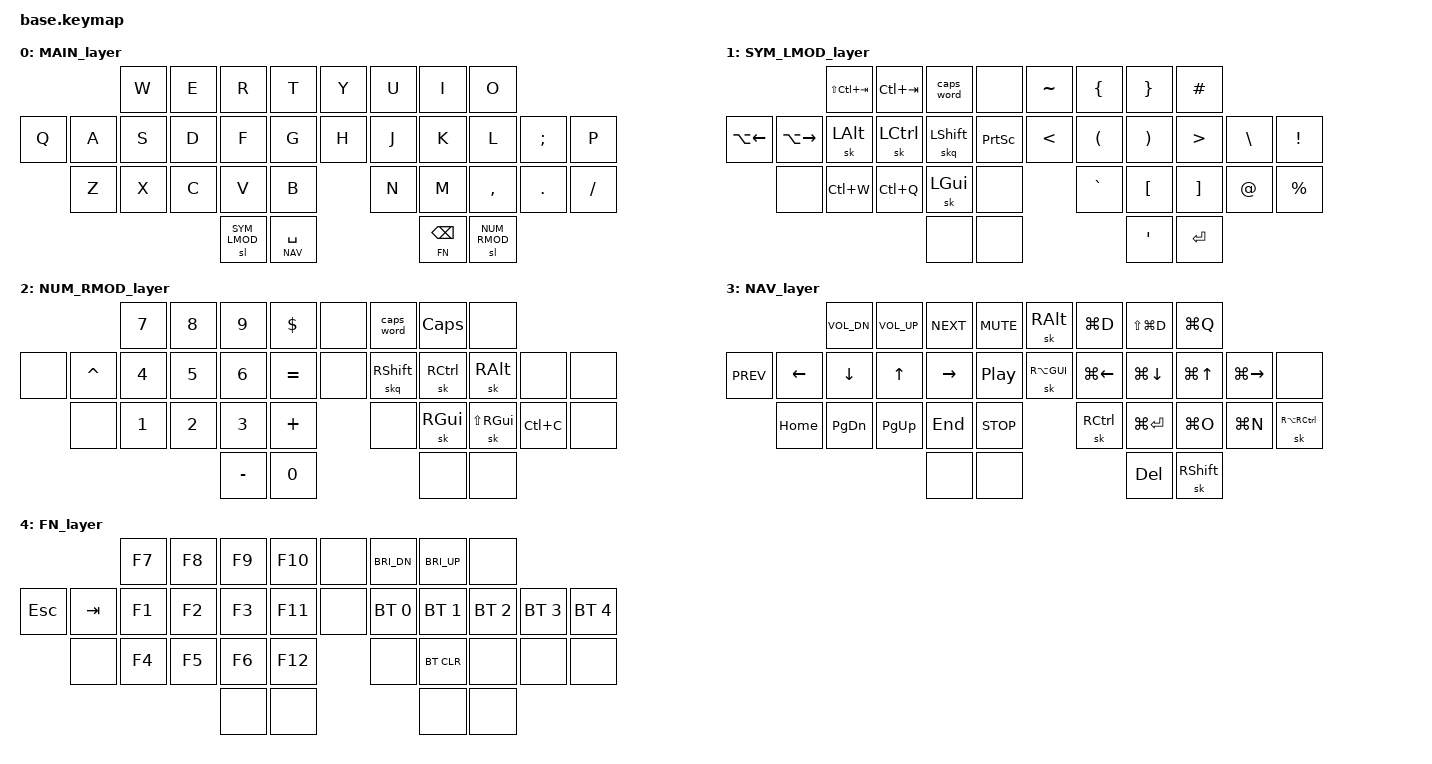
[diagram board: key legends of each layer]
#include <behaviors.dtsi>
#include <dt-bindings/zmk/keys.h>
#include <dt-bindings/zmk/bt.h>

#define MAIN 0
#define SYM_LMOD 1
#define NUM_RMOD 2
#define NAV 3
#define FN 4

&mt {
    flavor = "tap-preferred";
    tapping_term_ms = <180>;
};

/ {
    behaviors {
        semi_tilde: semi_tilde {
            compatible = "zmk,behavior-mod-morph";
            label = "SEMI_TILDE";
            #binding-cells = <0>;
            bindings = <&kp SEMI>, <&kp TILDE>;
            mods = <(MOD_LSFT|MOD_RSFT)>;
        };

        dot_dllr: dot_dllr {
            compatible = "zmk,behavior-mod-morph";
            label = "DOT_DLLR";
            #binding-cells = <0>;
            bindings = <&kp DOT>, <&kp DLLR>;
            mods = <(MOD_LSFT|MOD_RSFT)>;
        };

        comma_at: comma_at {
            compatible = "zmk,behavior-mod-morph";
            label = "COMMA_AT";
            #binding-cells = <0>;
            bindings = <&kp COMMA>, <&kp AT>;
            mods = <(MOD_LSFT|MOD_RSFT)>;
        };

        skq: sticky_key_quick_release {
            compatible = "zmk,behavior-sticky-key";
            label = "STICKY_KEY_QUICK_RELEASE";
            #binding-cells = <1>;
            bindings = <&kp>;
            release-after-ms = <1000>;
            quick-release;
        };
    };

    combos {
        compatible = "zmk,combos";

        combo_esc {
            timeout-ms = <30>;
            key-positions = <0 1>;
            bindings = <&kp ESC>;
            layers = <0>;
        };

        combo_tab {
            timeout-ms = <30>;
            key-positions = <1 2>;
            bindings = <&kp TAB>;
            layers = <0>;
        };

        combo_rbrc {
            timeout-ms = <30>;
            key-positions = <6 7>;
            bindings = <&kp RBRC>;
            layers = <1>;
        };

        combo_rpar {
            timeout-ms = <30>;
            key-positions = <16 17>;
            bindings = <&kp RPAR>;
            layers = <1>;
        };

        combo_rbkt {
            timeout-ms = <30>;
            key-positions = <27 28>;
            bindings = <&kp RBKT>;
            layers = <1>;
        };
    };

    keymap {
        compatible = "zmk,keymap";

        MAIN_layer {
            bindings = <
                      &kp W &kp E &kp R        &kp T            &kp Y    &kp U &kp I &kp O
          &kp Q &kp A &kp S &kp D &kp F        &kp G            &kp H &kp J    &kp K        &kp L      &kp SEMI &kp P
                &kp Z &kp X &kp C &kp V        &kp B            &kp N   &kp M    &kp COMMA        &kp PERIOD      &kp FSLH
                                  &sl SYM_LMOD &lt NAV SPACE      &lt FN BACKSPACE    &sl NUM_RMOD
            >;
        };

        SYM_LMOD_layer {
            bindings = <
                              &kp LS(LC(TAB)) &kp LC(TAB) &caps_word &none          &kp TILDE &kp LBRC  &kp RBRC &kp HASH
   &kp LA(LEFT) &kp LA(RIGHT) &sk LALT        &sk LCTRL   &skq LSHFT &kp PSCRN      &kp LT    &kp LPAR  &kp RPAR &kp GT   &kp BSLH  &kp EXCL
                &none         &kp LC(W)       &kp LC(Q)   &sk LGUI   &none          &kp GRAVE &kp LBKT  &kp RBKT &kp AT   &kp PRCNT
                                                          &none      &none          &kp SQT  &kp ENTER
            >;
        };

        NUM_RMOD_layer {
            bindings = <
                         &kp N7 &kp N8 &kp N9  &kp DLLR       &none &caps_word &kp CAPS     &none
         &none &kp CARET &kp N4 &kp N5 &kp N6  &kp EQUAL      &none &skq RSHFT &sk RCTRL    &sk RALT  &none &none
               &none     &kp N1 &kp N2 &kp N3  &kp PLUS       &none &sk RGUI   &sk LS(RGUI) &kp LC(C) &none
                                       &kp MINUS &kp N0         &none &none
            >;
        };

        NAV_layer {
            bindings = <
                         &kp C_VOL_DN &kp C_VOL_UP &kp C_NEXT &kp C_MUTE      &sk RALT    &kp LG(D)     &kp LS(LG(D)) &kp LG(Q)
     &kp C_PREV &kp LEFT &kp DOWN     &kp UP       &kp RIGHT  &kp C_PP        &sk RA(GUI) &kp LG(LEFT)  &kp LG(DOWN)  &kp LG(UP) &kp LG(RIGHT) &none
                &kp HOME &kp PG_DN    &kp PG_UP    &kp END    &kp C_STOP      &sk RCTRL   &kp LG(ENTER) &kp LG(O)     &kp LG(N)  &sk RA(RCTRL)
                                                   &none      &none           &kp DEL     &sk RSHFT
            >;
        };

        FN_layer {
            bindings = <
                          &kp F7 &kp F8 &kp F9 &kp F10      &none &kp C_BRI_DN &kp C_BRI_UP &none
          &kp ESC &kp TAB &kp F1 &kp F2 &kp F3 &kp F11      &none &bt BT_SEL 0 &bt BT_SEL 1 &bt BT_SEL 2 &bt BT_SEL 3 &bt BT_SEL 4
                  &none &kp F4 &kp F5 &kp F6 &kp F12        &none &bt BT_CLR   &none        &none        &none
                                    &none  &none        &none &none
            >;
        };
    };
};
